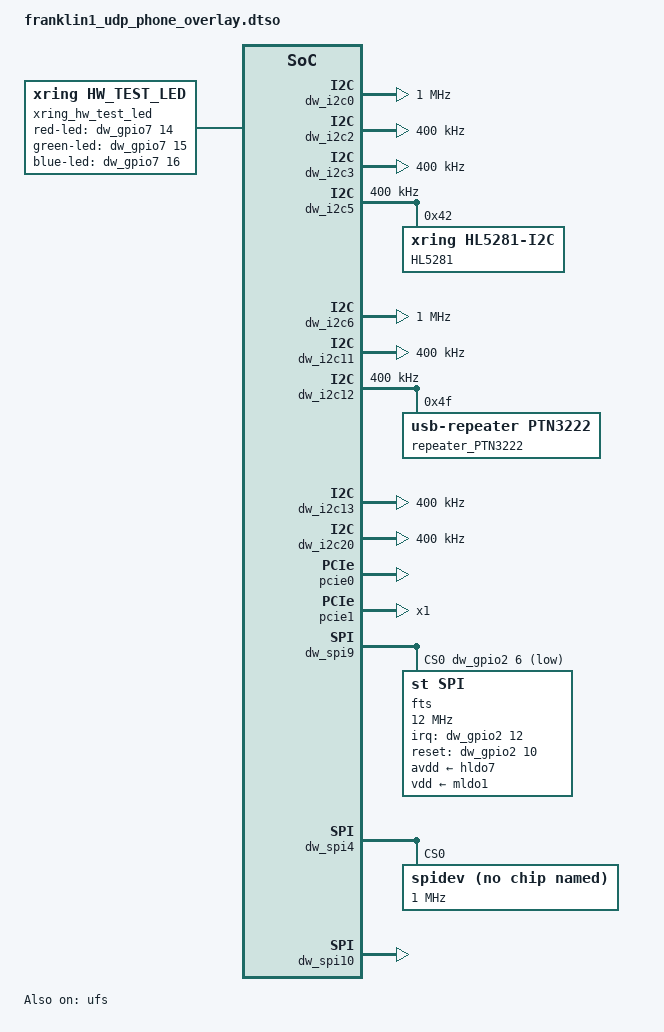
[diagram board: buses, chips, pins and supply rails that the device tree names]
// SPDX-License-Identifier: (GPL-2.0+ OR MIT)
/*
 * Copyright 2022 XiaoMi
 */

/dts-v1/;
/plugin/;
#include "franklin1_udp_phone.dtsi"
#include "../franklin1_udp.dtsi"
#include "franklin1_udp_phone_display_overlay.dtsi"
#include "franklin1_udp_phone_doze_vote_overlay.dtsi"
#include "franklin1_udp_phone_camera_overlay.dtsi"
#include "franklin1_udp_phone_audio_overlay.dtsi"
#include "franklin1_udp_phone_t800.dtsi"
#include "xring_o1_udp_pinctrl_overlay.dtsi"
#include "xring_o1_udp_phone_wifi_overlay.dtsi"
#include "franklin1_udp_phone_memory.dtsi"
#include "xring_o1_udp_phone_vpu_overlay.dtsi"
#include "xring_o1_udp_pinctrl_uefi_overlay.dtsi"
#include "franklin1_udp_phone_thermal_overlay.dtsi"
#include "franklin1_udp_phone_charger_mca_overlay.dtsi"
#include "franklin1_udp_phone_charger_overlay.dtsi"
#include <dt-bindings/xring/xr-id.h>
#include <dt-bindings/xring/xr-o1-clock.h>
#include <dt-bindings/gpio/gpio.h>

#define PRODUCT_ID          0x00        // product id, ADC6 coded value
#define PRODUCT_LOT         0x00        // product lot id, ADC7 coded value
#define PRODUCT_SUB_LOT     0x01        // product sub lot id, ADC8 coded value

//Splice the BoardId
#define BOARD_ID            ((F1_CS_CHIPID << 24) | (PRODUCT_ID << 16) | (PRODUCT_LOT << 8) | PRODUCT_SUB_LOT)

/ {
    board_id = <BOARD_ID>;
    board_rev = <0x00000000>;
};

&chosen {
    // Add vendor board bootargs at here!
    bootargs_ext = " ";
};

&ufs {
    status = "okay";
};

&dw_mmc {
    status = "disabled";
    clocks = <&xr_clk XR_CLK_EMMC_CCLK_BASE_INI>, <&xr_clk XR_HCLK_EMMC>;
};

&dmac {
    status = "okay";
};

&dw_i2c0 {
    status = "okay";
    clock-frequency = <1000000>;
    pinctrl-names = "init", "default", "sleep";
    pinctrl-0 = <&i2c0_scl_init>, <&i2c0_sda_init>;
    pinctrl-1 = <&i2c0_scl_default>, <&i2c0_sda_default>;
    pinctrl-2 = <&i2c0_scl_sleep>, <&i2c0_sda_sleep>;
};

&dw_i2c2 {
    status = "okay";
    clock-frequency = <400000>;
    pinctrl-names = "init", "default", "sleep";
    pinctrl-0 = <&i2c2_scl_init>, <&i2c2_sda_init>;
    pinctrl-1 = <&i2c2_scl_default>, <&i2c2_sda_default>;
    pinctrl-2 = <&i2c2_scl_sleep>, <&i2c2_sda_sleep>;
};

&dw_i2c3 {
    status = "okay";
    clock-frequency = <400000>;
    pinctrl-names = "init", "default", "sleep";
    pinctrl-0 = <&i2c3_scl_init>, <&i2c3_sda_init>;
    pinctrl-1 = <&i2c3_scl_default>, <&i2c3_sda_default>;
    pinctrl-2 = <&i2c3_scl_sleep>, <&i2c3_sda_sleep>;
};

&dw_i2c5 {
    status = "okay";
    clock-frequency = <400000>;
    #address-cells = <1>;
    #size-cells = <0>;
    pinctrl-names = "init", "default", "sleep";
    pinctrl-0 = <&i2c5_scl_init>, <&i2c5_sda_init>;
    pinctrl-1 = <&i2c5_scl_default>, <&i2c5_sda_default>;
    pinctrl-2 = <&i2c5_scl_sleep>, <&i2c5_sda_sleep>;
    hw-spinlock = <82>;
    HL5281@42 {
        compatible = "xring,hl5281-i2c";
        reg = <0x42>;
        status = "okay";
        pinctrl-names = "default", "active", "sleep";
        pinctrl-0 = <&gpio_038_default>, <&gpio_111_default>;
        pinctrl-1 = <&gpio_038_default>, <&gpio_111_hight>;
        pinctrl-2 = <&gpio_038_default>, <&gpio_111_sleep>;
    };
};

&dw_i2c6 {
    status = "okay";
    clock-frequency = <1000000>;
    #address-cells = <1>;
    #size-cells = <0>;
    pinctrl-names = "init", "default", "sleep";
    pinctrl-0 = <&i2c6_scl_init>, <&i2c6_sda_init>;
    pinctrl-1 = <&i2c6_scl_default>, <&i2c6_sda_default>;
    pinctrl-2 = <&i2c6_scl_sleep>, <&i2c6_sda_sleep>;
};

&dw_i2c11 {
    status = "okay";
    clock-frequency = <400000>;
};

&dw_i2c12 {
    status = "okay";
    clock-frequency = <400000>;
    #address-cells = <1>;
    #size-cells = <0>;
    pinctrl-names = "init", "default", "sleep";
    pinctrl-0 = <&i2c12_scl_init>, <&i2c12_sda_init>;
    pinctrl-1 = <&i2c12_scl_default>, <&i2c12_sda_default>;
    pinctrl-2 = <&i2c12_scl_sleep>, <&i2c12_sda_sleep>;
    repeater_PTN3222: PTN3222@4f {
        compatible = "usb-repeater,PTN3222";
        reg = <0x4f>;
        device-repeater =
                <0x21 0x07
                 0x64 0x08
                 0x03 0x0A>;
        host-repeater =
                <0x21 0x07
                 0x64 0x08
                 0x03 0x0A>;

        pinctrl-names = "init","release","reset";
        pinctrl-0 = <&gpio_154_init>;
        pinctrl-1 = <&gpio_154_default>;
        pinctrl-2 = <&gpio_154_sleep>;
        status = "okay";
    };
};

&dw_i2c13 {
    clock-frequency = <400000>;
    pinctrl-names = "init", "default", "sleep";
    pinctrl-0 = <&i2c13_scl_init>, <&i2c13_sda_init>;
    pinctrl-1 = <&i2c13_scl_default>, <&i2c13_sda_default>;
    pinctrl-2 = <&i2c13_scl_sleep>, <&i2c13_sda_sleep>;
};

&dw_i2c20 {
    clock-frequency = <400000>;
    pinctrl-names = "init", "default", "sleep";
    pinctrl-0 = <&i2c20_scl_init>, <&i2c20_sda_init>;
    pinctrl-1 = <&i2c20_scl_default>, <&i2c20_sda_default>;
    pinctrl-2 = <&i2c20_scl_sleep>, <&i2c20_sda_sleep>;
};

&pcie0 {
        status = "okay";
        max-link-speed = <2>;
        reset-assert-ms = <100>;
        pinctrl-names = "default";
        pinctrl-0 = <&pcie0_clk_req_n_init>;
        bypass-smmu;
        l2-diffbuf-shutdown;
        fw-upd-workaround;
        l12-doze-unmask;
        ep-pmic-en-gpio = <&dw_gpio7 6 0>;
        ep-device-type = "modem";
};

&pcie1 {
        status = "okay";
        max-link-speed = <3>;
        reset-assert-ms = <100>;
        pinctrl-names = "default";
        pinctrl-0 = <&pcie1_clk_req_n_init>;
        num-lanes = <1>;
        bypass-smmu;
        l2-diffbuf-shutdown;
        fw-upd-workaround;
        l12-doze-unmask;
        ep-pmic-en-gpio = <&dw_gpio4 2 0>;
        ep-device-type = "wifi";
};

&npu_smmu {
	status = "okay";
};

&pcie0_pcie_test {
        modem-pmic-en = <&dw_gpio7 6 0>;
        modem-pmic-rst = <&dw_gpio6 28 0>;
        wf-pmic-rst = <&dw_gpio4 0 0>;
        wf-pmic-en = <&dw_gpio4 2 0>;
        pinctrl-names = "default";
        pinctrl-0 = <&pcie0_clk_req_n_init>;
        max-link-speed = <4>;
};

&pcie1_pcie_test {
        modem-pmic-en = <&dw_gpio7 6 0>;
        modem-pmic-rst = <&dw_gpio6 28 0>;
        wf-pmic-rst = <&dw_gpio4 0 0>;
        wf-pmic-en = <&dw_gpio4 2 0>;
        pinctrl-names = "default";
        pinctrl-0 = <&pcie1_clk_req_n_init>;
        max-link-speed = <4>;
};

&{/} {
    xring_hw_test_led {
        compatible = "xring,hw_test_led";
        red-led-gpio = <&dw_gpio7 14 0>;
        green-led-gpio = <&dw_gpio7 15 0>;
        blue-led-gpio = <&dw_gpio7 16 0>;
        status = "okay";
    };
};

&usb_hsphy {
    usb-repeater = <&repeater_PTN3222>;
};

&dw_spi9 {
    #address-cells = <1>;
    #size-cells = <0>;
    autosuspend-delay = <10>;
    pinctrl-0 = <&spi9_clk_init>, <&spi9_mosi_init>,
                <&spi9_miso_init>, <&gpio_070_init>;
    pinctrl-1 = <&spi9_clk_default>, <&spi9_mosi_default>,
                <&spi9_miso_default>, <&gpio_070_default>;
    pinctrl-2 = <&spi9_clk_sleep>, <&spi9_mosi_sleep>,
                <&spi9_miso_sleep>, <&gpio_070_sleep>;
    pinctrl-names = "init", "default", "sleep";
    cs-gpios = <&dw_gpio2 6 GPIO_ACTIVE_LOW>;
    hardware-lock = <76>;
    status = "okay";
    fts@0 {
        dsi-panel = <&dsi_panel_m1_dsc_cmd>;
        status = "ok";
        compatible = "st,spi";
        reg = <0x0>;
        pinctrl-0 = <&gpio_076_init>, <&gpio_074_init>;
        pinctrl-1 = <&gpio_076_default>, <&gpio_074_default>;
        pinctrl-2 = <&gpio_076_sleep>, <&gpio_074_sleep>;
        pinctrl-3 = <&gpio_se_07>;
        pinctrl-names = "init", "default", "sleep", "secure";
        avdd-supply = <&hldo7>;
        vdd-supply = <&mldo1>;
        fts,pwr-reg-name = "avdd";
        fts,bus-reg-name = "vdd";
        fts,irq-gpio = <&dw_gpio2 12 0>;
        fts,irq-gpio-name = "fts_irq";
        fts,reset-gpio-enable;
        fts,reset-gpio = <&dw_gpio2 10 0>;
        fts,reset-gpio-name = "fts_rst";
        fts,irq-flags = <0x2008>;
        fts,x-max = <14400>;
        fts,y-max = <32000>;
        spi-max-frequency = <12000000>;
        fts,support-super-resolution = <1>;
        fts,default-fw-name = "st_fts_m1.ftb";
        fts,config-array-size = <1>;
        fts,cfg_0 {
            fts,tp-vendor = <0x42>;
            fts,fw-name = "st_fts_m1.ftb";
            fts,limit-name = "stm_fts_production_limits.csv";
        };
    };
};

&dw_spi4 {
    #address-cells = <1>;
    #size-cells = <0>;
    pinctrl-0 = <&spi4_mosi_init>;
    pinctrl-1 = <&spi4_mosi_default>;
    pinctrl-2 = <&spi4_mosi_sleep>;
    pinctrl-names = "init", "default", "sleep";
    status = "okay";
    spidev@0 {
        compatible = "linux,spidev";
        spi-max-frequency = <1000000>;
        reg = <0>;
    };
};

&pmic {
	pmic-spmi-test {
		compatible = "xr-pmic-spmi-test";
		status = "okay";
	};
};

&sensorhub {
    dsi-panel = <&dsi_panel_m1_dsc_cmd>,
        <&dsi_panel_m1_no_dsc_cmd>,
        <&dsi_panel_n16_dsc_vid>,
        <&fake_dsi_panel>;
    sensordriver {
        status = "okay";
        amg {
            status = "okay";
            amg1 {
                compatible = "st,lsm6dsvq";
                bus_type = <1>;
                bus_num = <1>;
                slave_address = <0>; // if i2c slave
                bus_speed_khz = <0>;
                chip_id_addr = <0xF>;
                chip_id_value = <0x70>;
                i3c_device_id_flags = <0xF>;
                i3c_device_id_dcr = <0x44>;
                i3c_device_id_pid = /bits/ 64 <0x2080070120B>;
                driver_id = "lsm6dsvq";
                orientation = /bits/ 8 <3 2 5>;
                irq_num = /bits/ 8 <13>;
                status = "okay";
            };
        };
        mag {
            status = "okay";
            mag1 {
                compatible = "qmc,qmc6308";
                bus_type = <0>;
                bus_num = <18>;
                slave_address = <0x2C>; // if i2c slave
                bus_speed_khz = <400>;
                driver_id = "qmc6308";
                orientation = /bits/ 8 <1 3 5>;
                chip_id_addr = <0x0>;
                chip_id_value = <0x80>;
                status = "okay";
            };
        };
        als {
            status = "okay";
            als1 {
                compatible = "ams,alsps";
                bus_type = <0>;
                bus_num = <19>;
                slave_address = <0x39>; // if i2c slave
                bus_speed_khz = <400>;
                driver_id = "tcs3720";
                chip_id_addr = <0x92>;
                chip_id_value = <0x82>;
                status = "okay";
            };
        };
        flicker {
            status = "okay";
            flicker1 {
                compatible = "sip,sip2326";
                bus_type = <0>;
                bus_num = <17>;
                slave_address = <0x59>; // if i2c slave
                bus_speed_khz = <400>;
                driver_id = "sip2326";
                chip_id_addr = <0x3>;
                chip_id_value = <0x6>;
                status = "okay";
            };
        };
        bar {
            status = "okay";
            bar1 {
                compatible = "spl,spl07";
                bus_type = <0>;
                bus_num = <19>;
                slave_address = <0x76>; // if i2c slave
                bus_speed_khz = <400>;
                driver_id = "spl07";
                chip_id_addr = <0x0D>;
                chip_id_value = <0x11>;
                status = "okay";
            };
        };
        sar {
            status = "okay";
            sar1 {
                compatible = "hx,hx9035";
                bus_type = <0>;
                bus_num = <17>;
                slave_address = <0x1B>; // if i2c slave
                bus_speed_khz = <400>;
                driver_id = "hx9035";
                chip_id_addr = <0x0001>;
                chip_id_value = <0x2E>;
                status = "okay";
            };
        };
        ois {
            status = "okay";
            ois {
                compatible = "lsm,lsm6dsq_ha";
                bus_type = <2>;
                bus_num = <2>;
                slave_address = <0>;
                bus_speed_khz = <9800>;
                driver_id = "lsm6dsq_ha";
                orientation = /bits/ 8 <3 2 5>;
                chip_id_addr = <0x0f>;
                chip_id_value = <0x70>;
                bus_type_x = <0>;
                bus_num_x = <16>;
                slave_address_x = <0x0E>;
                bus_speed_khz_x = <1000>;
                bus_type_y = <0>;
                bus_num_y = <16>;
                slave_address_y = <0x4E>;
                bus_speed_khz_y = <1000>;
                status = "okay";
            };
        };
    };
};

&dw_spi10 {
    status = "okay";
};
